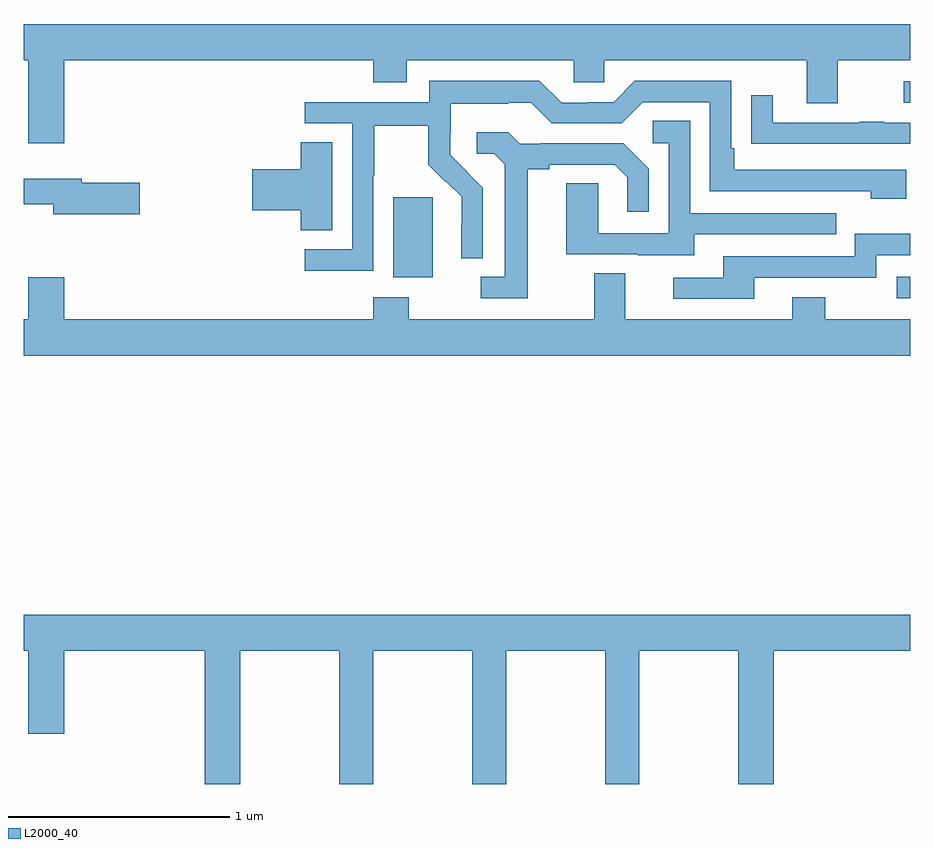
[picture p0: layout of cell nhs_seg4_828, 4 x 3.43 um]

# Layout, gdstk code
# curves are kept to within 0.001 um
import gdstk
lib = gdstk.Library(unit=1e-6, precision=1e-09)
def R(c, l, rs):  # rectangles x0, y0, x1, y1
    for r in rs: c.add(gdstk.rectangle(r[:2], r[2:], *l))
def P(c, l, *ps):  # polygons
    for p in ps: c.add(gdstk.Polygon(p, *l))
L2000_40 = (2000, 40)

nhs_seg4_828 = lib.new_cell('nhs_seg4_828')
R(nhs_seg4_828, L2000_40, [(156.939,785.091,157,785.187), (154.667,785.186,154.846,785.547), (156.969,785.973,157,786.069)])
P(nhs_seg4_828, L2000_40, [(153.184,786.164),(154.577,786.164),(154.577,786.065),(154.729,786.065),(154.729,786.164),(155.481,786.164),(155.481,786.066),(155.619,786.066),(155.619,786.164),(156.533,786.164),(156.533,785.97),(156.673,785.97),(156.673,786.164),(157,786.164),(157,786.328),(153,786.328),(153,786.164),(153.02,786.164),(153.02,785.79),(153.184,785.79)],
  [(154.578,785.644),(154.581,785.644),(154.581,785.868),(154.825,785.868),(154.825,785.693),(154.902,785.616),(154.905,785.619),(154.976,785.549),(154.976,785.426),(154.974,785.426),(154.974,785.272),(155.07,785.272),(155.07,785.59),(154.924,785.738),(154.924,785.835),(154.926,785.835),(154.926,785.969),(155.189,785.969),(155.189,785.973),(155.289,785.973),(155.382,785.88),(155.697,785.88),(155.793,785.976),(156.096,785.976),(156.096,785.574),(156.821,785.574),(156.821,785.54),(156.982,785.54),(156.982,785.67),(156.205,785.67),(156.205,785.767),(156.192,785.767),(156.192,786.072),(155.757,786.072),(155.661,785.976),(155.543,785.976),(155.543,785.973),(155.427,785.973),(155.327,786.073),(154.83,786.073),(154.83,785.976),(154.269,785.976),(154.269,785.88),(154.482,785.88),(154.482,785.313),(154.269,785.313),(154.269,785.215),(154.578,785.215)],
  [(157,785.883),(156.881,785.883),(156.881,785.888),(156.769,785.888),(156.769,785.883),(156.379,785.883),(156.379,786.007),(156.283,786.007),(156.283,785.788),(156.385,785.788),(156.385,785.787),(157,785.787)],
  [(156.025,785.379),(156.665,785.379),(156.665,785.475),(156.006,785.475),(156.006,785.891),(155.838,785.891),(155.838,785.79),(155.91,785.79),(155.91,785.385),(155.592,785.385),(155.592,785.609),(155.447,785.609),(155.447,785.289),(155.771,785.289),(155.771,785.285),(156.025,785.285)],
  [(155.275,785.672),(155.371,785.672),(155.371,785.694),(155.666,785.694),(155.723,785.637),(155.723,785.481),(155.82,785.481),(155.82,785.674),(155.704,785.79),(155.332,785.79),(155.332,785.787),(155.238,785.787),(155.186,785.839),(155.043,785.839),(155.043,785.742),(155.124,785.742),(155.171,785.695),(155.171,785.187),(155.061,785.187),(155.061,785.091),(155.275,785.091)],
  [(154.393,785.795),(154.25,785.795),(154.25,785.672),(154.032,785.672),(154.032,785.489),(154.25,785.489),(154.25,785.398),(154.393,785.398)],
  [(153.523,785.612),(153.262,785.612),(153.262,785.629),(153,785.629),(153,785.516),(153.134,785.516),(153.134,785.47),(153.523,785.47)],
  [(156.295,785.184),(156.846,785.184),(156.846,785.286),(157,785.286),(157,785.383),(156.75,785.383),(156.75,785.28),(156.155,785.28),(156.155,785.184),(155.931,785.184),(155.931,785.088),(156.295,785.088)],
  [(157,784.996),(156.615,784.996),(156.615,785.095),(156.467,785.095),(156.467,784.996),(155.713,784.996),(155.713,785.204),(155.573,785.204),(155.573,784.996),(154.737,784.996),(154.737,785.095),(154.577,785.095),(154.577,784.996),(153.184,784.996),(153.184,785.185),(153.02,785.185),(153.02,784.996),(153,784.996),(153,784.832),(157,784.832)],
  [(153.978,783.5),(154.423,783.5),(154.423,782.9),(154.578,782.9),(154.578,783.5),(155.023,783.5),(155.023,782.9),(155.178,782.9),(155.178,783.5),(155.623,783.5),(155.623,782.9),(155.778,782.9),(155.778,783.5),(156.223,783.5),(156.223,782.9),(156.383,782.9),(156.383,783.5),(157,783.5),(157,783.664),(153,783.664),(153,783.5),(153.02,783.5),(153.02,783.126),(153.184,783.126),(153.184,783.5),(153.818,783.5),(153.818,782.9),(153.978,782.9)])

lib.write_gds('nhs_seg4_828.gds')
